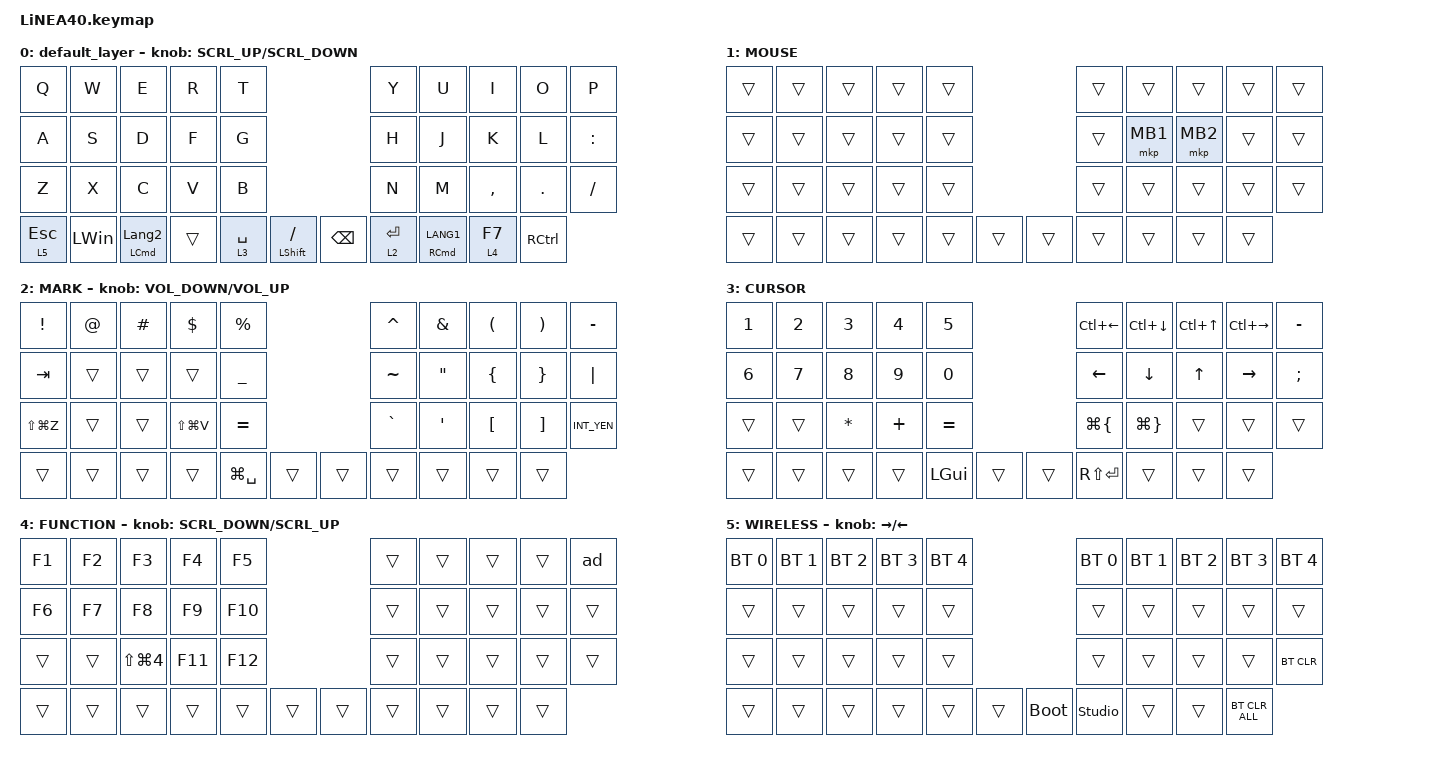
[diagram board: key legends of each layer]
#define ZMK_POINTING_DEFAULT_SCRL_VAL 150

#include <dt-bindings/zmk/input_transform.h>
#include <input/processors.dtsi>
#include <zephyr/dt-bindings/input/input-event-codes.h>
#include <behaviors.dtsi>
#include <dt-bindings/zmk/bt.h>
#include <dt-bindings/zmk/keys.h>
#include <dt-bindings/zmk/pointing.h>

#define MOUSE 1
#define MARK 2
#define CURSOR 3
#define FUNCTION 4
#define SCROLL 5
#define WIRELESS 6

//mouse cursol

&mmv {
    delay-ms = <20>;
    trigger-period-ms = <5>;
    time-to-max-speed-ms = <100>;
    acceleration-exponent = <2>;
};

//mouse scroll

&msc {
    delay-ms = <3>;
    trigger-period-ms = <3>;
    time-to-max-speed-ms = <100>;
    acceleration-exponent = <0>;
};

/ {
    input_processors {
        zip_wheel_scaler: zip_wheel_scaler {
            compatible = "zmk,input-processor-scaler";
            #input-processor-cells = <2>;
            type = <INPUT_EV_REL>;
            codes = <INPUT_REL_WHEEL>;
            track-remainders;
        };
    };
};

&msc_input_listener {
    speed_up {
        layers = <FUNCTION>;
        input-processors = <&zip_wheel_scaler 3 1>; //スクロールを3倍速にする
    };
};

&trackball_listener {
    scroller {
        layers = <SCROLL>;
        input-processors =
            <&zip_xy_transform INPUT_TRANSFORM_Y_INVERT>,
            //スクロール方向を逆転,,,,,,
            <&zip_xy_to_scroll_mapper>;
    };
};

/ {
    combos { compatible = "zmk,combos"; };

    behaviors {
        re_kp: sensor_rotate_kp {
            compatible = "zmk,behavior-sensor-rotate-var";
            #sensor-binding-cells = <2>;
            bindings = <&kp>, <&kp>;
        };

        mouse_scrl: mouse_wheel_scrl {
            compatible = "zmk,behavior-sensor-rotate-var";
            #sensor-binding-cells = <2>;
            bindings = <&msc>, <&msc>;

            tap-ms = <20>;
        };
    };

    macros {
        ad: ad {
            compatible = "zmk,behavior-macro";
            #binding-cells = <0>;
            bindings = <&kp K &kp DOT &kp M &kp I &kp T &kp S &kp U &kp H &kp A &kp S &kp H &kp I &kp AT &kp H &kp U &kp B &kp B &kp L &kp E &kp MINUS &kp I &kp N &kp C &kp DOT &kp J &kp P>;
            label = "AD";
        };
    };

    keymap {
        compatible = "zmk,keymap";

        default_layer {
            bindings = <
&kp Q      &kp W         &kp E                        &kp R   &kp T                                               &kp Y        &kp U  &kp I                    &kp O     &kp P
&kp A      &kp S         &kp D                        &kp F   &kp G                                               &kp H        &kp J  &kp K                    &kp L     &kp COLON
&kp Z      &kp X         &kp C                        &kp V   &kp B                                               &kp N        &kp M  &kp COMMA                &kp DOT   &kp SLASH
&lt 5 ESC  &kp LEFT_WIN  &mt LEFT_COMMAND LANGUAGE_2  &trans  &lt 3 SPACE  &mt LEFT_SHIFT SLASH    &kp BACKSPACE  &lt 2 ENTER         &mt RIGHT_COMMAND LANG1  &lt 4 F7  &kp RCTRL
            >;

            sensor-bindings = <&mouse_scrl SCRL_UP SCRL_DOWN>;
        };

        //1

        MOUSE {
            bindings = <
&trans  &trans  &trans  &trans  &trans                    &trans  &trans    &trans    &trans  &trans
&trans  &trans  &trans  &trans  &trans                    &trans  &mkp MB1  &mkp MB2  &trans  &trans
&trans  &trans  &trans  &trans  &trans                    &trans  &trans    &trans    &trans  &trans
&trans  &trans  &trans  &trans  &trans  &trans    &trans  &trans            &trans    &trans  &trans
            >;
        };

        //2

        MARK {
            bindings = <
&kp EXCLAMATION  &kp AT  &kp HASH  &kp DOLLAR     &kp PERCENT                       &kp CARET  &kp AMPERSAND      &kp LEFT_PARENTHESIS  &kp RIGHT_PARENTHESIS  &kp MINUS
&kp TAB          &trans  &trans    &trans         &kp UNDERSCORE                    &kp TILDE  &kp DOUBLE_QUOTES  &kp LEFT_BRACE        &kp RIGHT_BRACE        &kp PIPE
&kp LS(LG(Z))    &trans  &trans    &kp LS(LG(V))  &kp EQUAL                         &kp GRAVE  &kp SINGLE_QUOTE   &kp LEFT_BRACKET      &kp RIGHT_BRACKET      &kp INT_YEN
&trans           &trans  &trans    &trans         &kp LG(SPACE)   &trans    &trans  &trans                        &trans                &trans                 &trans
            >;

            sensor-bindings = <&re_kp C_VOLUME_DOWN C_VOLUME_UP>;
        };

        //3

        CURSOR {
            bindings = <
&kp NUMBER_1  &kp NUMBER_2  &kp NUMBER_3  &kp NUMBER_4  &kp N5                          &kp LC(LEFT)        &kp LC(DOWN)         &kp LC(UP)  &kp LC(RIGHT)  &kp MINUS
&kp NUMBER_6  &kp NUMBER_7  &kp NUMBER_8  &kp NUMBER_9  &kp NUMBER_0                    &kp LEFT            &kp DOWN             &kp UP      &kp RIGHT      &kp SEMICOLON
&trans        &trans        &kp ASTERISK  &kp PLUS      &kp EQUAL                       &kp LG(LEFT_BRACE)  &kp LG(RIGHT_BRACE)  &trans      &trans         &trans
&trans        &trans        &trans        &trans        &kp LGUI      &trans    &trans  &kp RS(ENTER)                            &trans      &trans         &trans
            >;
        };

        //4

        FUNCTION {
            bindings = <
&kp F1  &kp F2  &kp F3                &kp F4   &kp F5                     &trans  &trans  &trans  &trans  &ad
&kp F6  &kp F7  &kp F8                &kp F9   &kp F10                    &trans  &trans  &trans  &trans  &trans
&trans  &trans  &kp LS(LG(NUMBER_4))  &kp F11  &kp F12                    &trans  &trans  &trans  &trans  &trans
&trans  &trans  &trans                &trans   &trans   &trans    &trans  &trans          &trans  &trans  &trans
            >;

            sensor-bindings = <&mouse_scrl SCRL_DOWN SCRL_UP>;
        };

        //5
        //6

        WIRELESS {
            bindings = <
&bt BT_SEL 0  &bt BT_SEL 1  &bt BT_SEL 2  &bt BT_SEL 3  &bt BT_SEL 4                         &bt BT_SEL 0    &bt BT_SEL 1  &bt BT_SEL 2  &bt BT_SEL 3  &bt BT_SEL 4
&trans        &trans        &trans        &trans        &trans                               &trans          &trans        &trans        &trans        &trans
&trans        &trans        &trans        &trans        &trans                               &trans          &trans        &trans        &trans        &bt BT_CLR
&trans        &trans        &trans        &trans        &trans        &trans    &bootloader  &studio_unlock                &trans        &trans        &bt BT_CLR_ALL
            >;

            sensor-bindings = <&inc_dec_kp RIGHT_ARROW LEFT_ARROW>;
        };
    };
};
